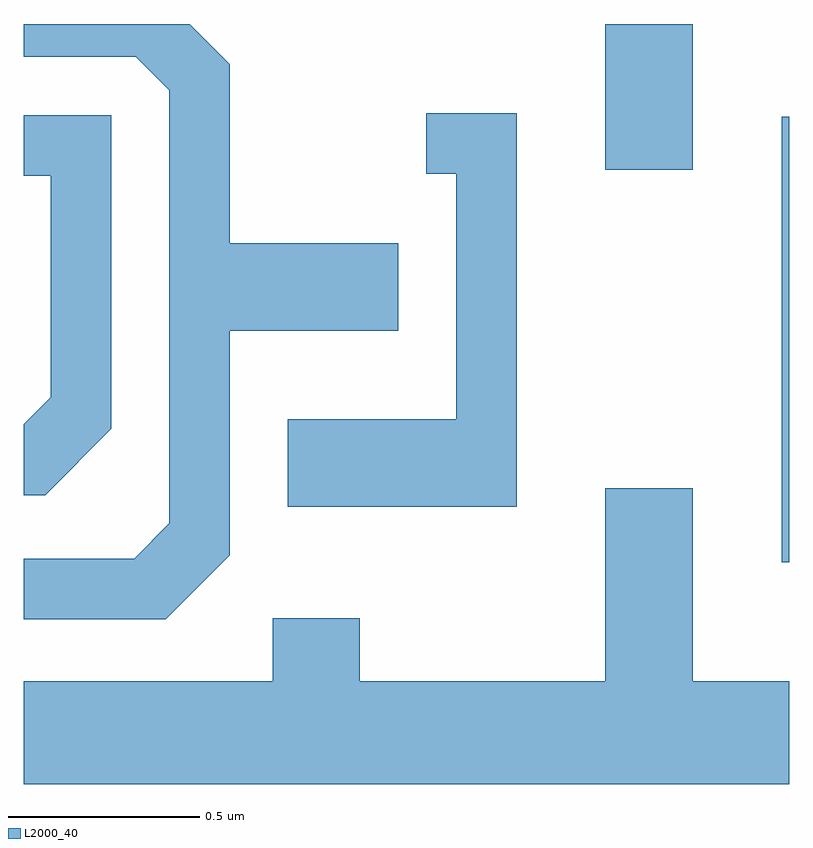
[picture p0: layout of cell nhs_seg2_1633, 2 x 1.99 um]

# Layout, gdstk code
import gdstk
lib = gdstk.Library(unit=1e-6, precision=1e-09)
def R(c, l, rs):  # rectangles x0, y0, x1, y1
    for r in rs: c.add(gdstk.rectangle(r[:2], r[2:], *l))
def P(c, l, *ps):  # polygons
    for p in ps: c.add(gdstk.Polygon(p, *l))
L2000_40 = (2000, 40)

nhs_seg2_1633 = lib.new_cell('nhs_seg2_1633')
R(nhs_seg2_1633, L2000_40, [(198.591,1104.396,198.611,1105.559), (198.131,1105.421,198.359,1105.802)])
P(nhs_seg2_1633, L2000_40, [(197.149,1104.414),(197.149,1105.001),(197.589,1105.001),(197.589,1105.229),(197.149,1105.229),(197.149,1105.697),(197.044,1105.802),(196.611,1105.802),(196.611,1105.716),(196.904,1105.716),(196.991,1105.629),(196.991,1104.497),(196.899,1104.404),(196.611,1104.404),(196.611,1104.246),(196.982,1104.246)],
  [(197.899,1105.569),(197.663,1105.569),(197.663,1105.411),(197.741,1105.411),(197.741,1104.769),(197.301,1104.769),(197.301,1104.541),(197.899,1104.541)],
  [(196.839,1104.744),(196.839,1105.564),(196.611,1105.564),(196.611,1105.406),(196.681,1105.406),(196.681,1104.827),(196.611,1104.756),(196.611,1104.571),(196.667,1104.571)],
  [(198.611,1104.084),(198.359,1104.084),(198.359,1104.589),(198.131,1104.589),(198.131,1104.084),(197.489,1104.084),(197.489,1104.249),(197.261,1104.249),(197.261,1104.084),(196.611,1104.084),(196.611,1103.816),(198.611,1103.816)])

lib.write_gds('nhs_seg2_1633.gds')
